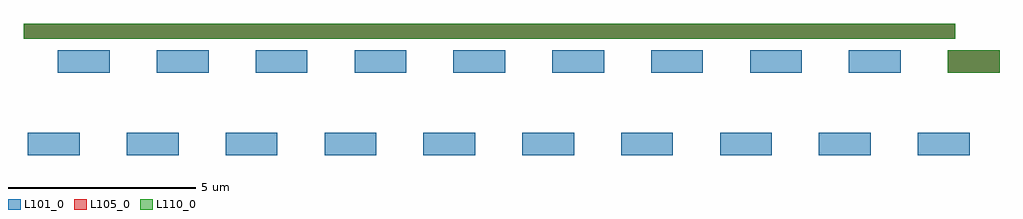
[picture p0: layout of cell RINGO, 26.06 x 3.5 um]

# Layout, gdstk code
import gdstk
lib = gdstk.Library(unit=1e-6, precision=1e-09)
def R(c, l, rs):  # rectangles x0, y0, x1, y1
    for r in rs: c.add(gdstk.rectangle(r[:2], r[2:], *l))
def A(c, l, x, y, w, h, nx, ny, dx, dy):  # array of equal rectangles
    R(c, l, [(x+i*dx, y+j*dy, x+i*dx+w, y+j*dy+h) for i in range(nx) for j in range(ny)])
L101_0 = (101, 0)
L105_0 = (105, 0)
L110_0 = (110, 0)

ringo = lib.new_cell('RINGO')
A(ringo, L101_0, -1.6, -1.5, 1.38, 0.6, 10, 1, 2.64, 0)
A(ringo, L101_0, -0.8, 0.7, 1.38, 0.6, 10, 1, 2.64, 0)
R(ringo, L101_0, [(-1.72,1.6,23.16,2)])
R(ringo, L105_0, [(22.96,0.7,24.34,1.3), (-1.72,1.6,23.16,2)])
R(ringo, L110_0, [(22.96,0.7,24.34,1.3), (-1.72,1.6,23.16,2)])

lib.write_gds('RINGO.gds')
